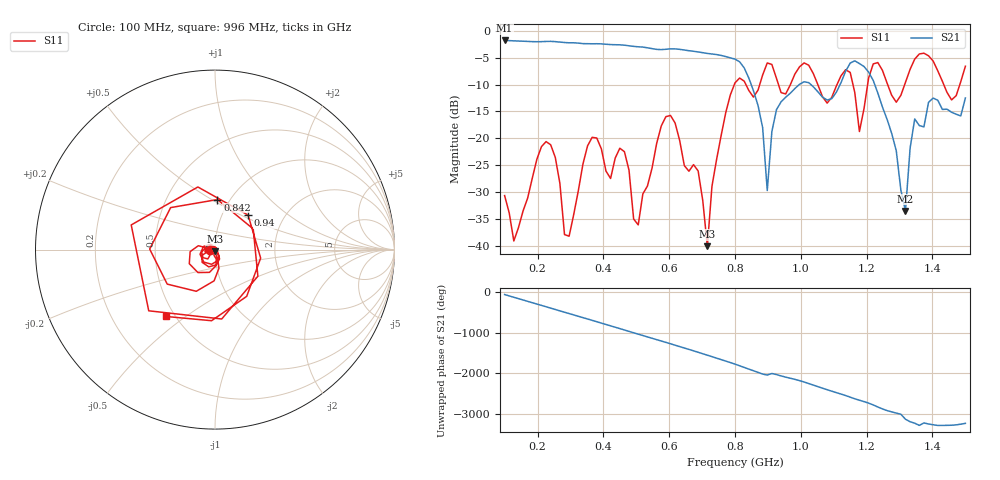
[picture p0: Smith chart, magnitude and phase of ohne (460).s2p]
! NanoVNA-App
! Date: 2025-09-25 14:24:22
! Start: 100MHz Stop: 1,5GHz Points: 101
! S-Parameter data: F S11 S21 S12 S22
# Hz S RI R 50
!  Frequency  S11_Real  S11_Imag  S21_Real  S21_Imag  S12_Real  S12_Imag  S22_Real  S22_Imag
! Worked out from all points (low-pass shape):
!   101 points, 100 MHz to 1.5 GHz, reference 50 ohm
!   highest |S21| = -1.79 dB at 100 MHz (marker M1); lowest = -33.5 dB at 1.318 GHz (marker M2)
!   |S21| within 3 dB of the highest: start of sweep to 771.8 MHz
!   lowest |S11| = -40.0 dB at 716 MHz (marker M3), VSWR 1.02, Z = 49.8 - j0.975 ohm
!   |S11| at or under -10 dB: start of sweep to 797.9 MHz; 833.2 MHz to 875.1 MHz (41.89 MHz wide, 4.9 % of centre); 1.052 GHz to 1.11 GHz (58.2 MHz wide, 5.39 % of centre) (the widest 3 of 7)
!   S12 and S22 are empty: the file has one direction only
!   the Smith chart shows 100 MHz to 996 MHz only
!   S11 on the Smith chart (normalised r, x): 100 MHz: 0.94, -0.01; 842 MHz: 0.88, +0.53; 940 MHz: 1.32, +0.55; 996 MHz: 0.45, -0.42
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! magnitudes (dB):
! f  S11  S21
! 100 MHz  -30.6  -1.8
! 128 MHz  -39.1  -1.9
! 226 MHz  -20.6  -2.0
! 296 MHz  -38.2  -2.2
! 338 MHz  -24.8  -2.4
! 464 MHz  -22.5  -2.7
! 506 MHz  -36.1  -3.0
! 576 MHz  -17.7  -3.5
! 688 MHz  -26.1  -3.9
! 716 MHz  -40.0  -4.2
! 800 MHz  -9.7  -5.3
! 842 MHz  -11.1  -8.8
! 898 MHz  -6.0  -29.7
! 940 MHz  -11.5  -13.2
! 996 MHz  -6.7  -9.9
! 1.038 GHz  -8.0  -10.4
! 1.164 GHz  -11.5  -5.6
! 1.178 GHz  -18.7  -6.1
! 1.276 GHz  -12.0  -19.1
! 1.318 GHz  -9.6  -33.5
! 1.346 GHz  -5.3  -16.4
! 1.5 GHz  -6.6  -12.5
